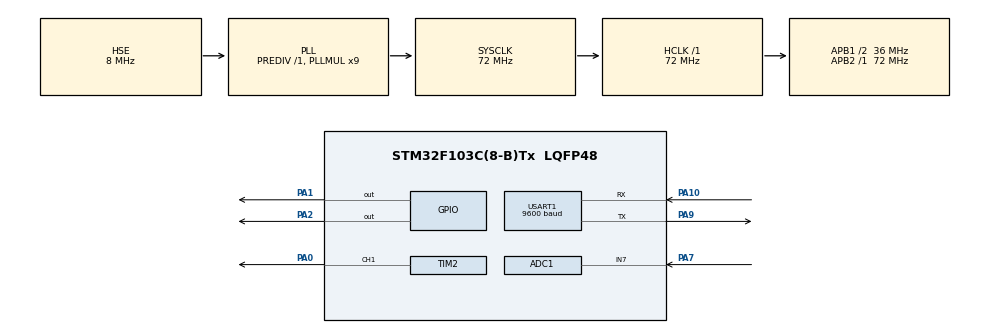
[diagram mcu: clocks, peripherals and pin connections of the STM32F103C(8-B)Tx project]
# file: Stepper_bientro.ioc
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ADC1.Channel-0\#ChannelRegularConversion=ADC_CHANNEL_7
ADC1.ContinuousConvMode=ENABLE
ADC1.NbrOfConversionFlag=1
ADC1.Rank-0\#ChannelRegularConversion=1
ADC1.SamplingTime-0\#ChannelRegularConversion=ADC_SAMPLETIME_1CYCLE_5
ADC1.master=1
Mcu.Family=STM32F1
Mcu.Name=STM32F103C(8-B)Tx
Mcu.Package=LQFP48
NVIC.ADC1_2_IRQn=true\:1\:0\:true\:false\:true\:true\:true\:true
NVIC.PriorityGroup=NVIC_PRIORITYGROUP_4
NVIC.TIM2_IRQn=true\:0\:0\:false\:false\:true\:true\:true\:true
NVIC.USART1_IRQn=true\:1\:0\:true\:false\:true\:true\:true\:true
PA0-WKUP.Signal=S_TIM2_CH1_ETR
PA1.Signal=GPIO_Output
PA10.Mode=Asynchronous
PA10.Signal=USART1_RX
PA13.Mode=Serial_Wire
PA13.Signal=SYS_JTMS-SWDIO
PA14.Mode=Serial_Wire
PA14.Signal=SYS_JTCK-SWCLK
PA2.Signal=GPIO_Output
PA7.Signal=ADCx_IN7
PA9.Mode=Asynchronous
PA9.Signal=USART1_TX
PD0-OSC_IN.Mode=HSE-External-Oscillator
PD0-OSC_IN.Signal=RCC_OSC_IN
PD1-OSC_OUT.Mode=HSE-External-Oscillator
PD1-OSC_OUT.Signal=RCC_OSC_OUT
ProjectManager.HeapSize=0x200
ProjectManager.StackSize=0x400
ProjectManager.TargetToolchain=STM32CubeIDE
RCC.ADCPresc=RCC_ADCPCLK2_DIV6
RCC.AHBFreq_Value=72000000
RCC.APB1CLKDivider=RCC_HCLK_DIV2
RCC.APB1Freq_Value=36000000
RCC.APB1TimFreq_Value=72000000
RCC.APB2Freq_Value=72000000
RCC.APB2TimFreq_Value=72000000
RCC.HCLKFreq_Value=72000000
RCC.PLLMUL=RCC_PLL_MUL9
RCC.PLLSourceVirtual=RCC_PLLSOURCE_HSE
RCC.SYSCLKFreq_VALUE=72000000
RCC.SYSCLKSource=RCC_SYSCLKSOURCE_PLLCLK
RCC.USBFreq_Value=72000000
SH.ADCx_IN7.0=ADC1_IN7,IN7
SH.S_TIM2_CH1_ETR.0=TIM2_CH1,PWM Generation1 CH1
TIM2.Channel-PWM\ Generation1\ CH1=TIM_CHANNEL_1
TIM2.Period=2000-1
TIM2.Prescaler=72-1
USART1.BaudRate=9600
USART1.VirtualMode=VM_ASYNC
VP_TIM2_VS_ClockSourceINT.Mode=Internal
board=custom

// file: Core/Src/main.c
/* USER CODE BEGIN Header */
/**
  ******************************************************************************
  * @file           : main.c
  * @brief          : Main program body
  ******************************************************************************
  * @attention
  *
  * Copyright (c) 2024 STMicroelectronics.
  * All rights reserved.
  *
  * This software is licensed under terms that can be found in the LICENSE file
  * in the root directory of this software component.
  * If no LICENSE file comes with this software, it is provided AS-IS.
  *
  ******************************************************************************
  */
/* USER CODE END Header */
#include "main.h"

/* USER CODE BEGIN Includes */
#include "stdio.h"
#include <stdlib.h>

/* USER CODE END Includes */

ADC_HandleTypeDef hadc1;

TIM_HandleTypeDef htim2;

UART_HandleTypeDef huart1;

/* USER CODE BEGIN PV */

#define DIR_PIN     GPIO_PIN_1
#define DIR_PORT    GPIOA
#define ENABLE_PIN  GPIO_PIN_2
#define ENABLE_PORT GPIOA

#define DIR_CLOCKWISE      GPIO_PIN_SET
#define DIR_COUNTERCLOCKWISE GPIO_PIN_RESET
#define MOTOR_ENABLED      GPIO_PIN_RESET
#define MOTOR_DISABLED     GPIO_PIN_SET

uint8_t rx_data;
char data[50];
uint16_t count = 0;
uint32_t newstep = 0;
uint32_t currentstep = 0;
float stepPerAngle = 1.8;
uint32_t target_step = 0;

uint8_t flag_enable_PWM = 0;
uint32_t adc_value = 0;
uint32_t microstepping = 8;

#define ADC_SAMPLES 100
uint32_t adcValues[ADC_SAMPLES];
/* USER CODE END PV */

void SystemClock_Config(void);
static void MX_GPIO_Init(void);
static void MX_USART1_UART_Init(void);
static void MX_ADC1_Init(void);
static void MX_TIM2_Init(void);

int main(void)
{

  /* MCU Configuration--------------------------------------------------------*/

  /* Reset of all peripherals, Initializes the Flash interface and the Systick. */
  HAL_Init();

  /* Configure the system clock */
  SystemClock_Config();

  /* Initialize all configured peripherals */
  MX_GPIO_Init();
  MX_USART1_UART_Init();
  MX_ADC1_Init();
  MX_TIM2_Init();
  /* USER CODE BEGIN 2 */

  HAL_UART_Receive_IT(&huart1,&rx_data, sizeof(rx_data));

  /* USER CODE END 2 */

  /* Infinite loop */
  while (1)
  {

  }
}

void SystemClock_Config(void)
{
  RCC_OscInitTypeDef RCC_OscInitStruct = {0};
  RCC_ClkInitTypeDef RCC_ClkInitStruct = {0};
  RCC_PeriphCLKInitTypeDef PeriphClkInit = {0};

  /** Initializes the RCC Oscillators according to the specified parameters
  * in the RCC_OscInitTypeDef structure.
  */
  RCC_OscInitStruct.OscillatorType = RCC_OSCILLATORTYPE_HSE;
  RCC_OscInitStruct.HSEState = RCC_HSE_ON;
  RCC_OscInitStruct.HSEPredivValue = RCC_HSE_PREDIV_DIV1;
  RCC_OscInitStruct.HSIState = RCC_HSI_ON;
  RCC_OscInitStruct.PLL.PLLState = RCC_PLL_ON;
  RCC_OscInitStruct.PLL.PLLSource = RCC_PLLSOURCE_HSE;
  RCC_OscInitStruct.PLL.PLLMUL = RCC_PLL_MUL9;
  if (HAL_RCC_OscConfig(&RCC_OscInitStruct) != HAL_OK)
  {
    Error_Handler();
  }

  /** Initializes the CPU, AHB and APB buses clocks
  */
  RCC_ClkInitStruct.ClockType = RCC_CLOCKTYPE_HCLK|RCC_CLOCKTYPE_SYSCLK
                              |RCC_CLOCKTYPE_PCLK1|RCC_CLOCKTYPE_PCLK2;
  RCC_ClkInitStruct.SYSCLKSource = RCC_SYSCLKSOURCE_PLLCLK;
  RCC_ClkInitStruct.AHBCLKDivider = RCC_SYSCLK_DIV1;
  RCC_ClkInitStruct.APB1CLKDivider = RCC_HCLK_DIV2;
  RCC_ClkInitStruct.APB2CLKDivider = RCC_HCLK_DIV1;

  if (HAL_RCC_ClockConfig(&RCC_ClkInitStruct, FLASH_LATENCY_2) != HAL_OK)
  {
    Error_Handler();
  }
  PeriphClkInit.PeriphClockSelection = RCC_PERIPHCLK_ADC;
  PeriphClkInit.AdcClockSelection = RCC_ADCPCLK2_DIV6;
  if (HAL_RCCEx_PeriphCLKConfig(&PeriphClkInit) != HAL_OK)
  {
    Error_Handler();
  }
}

static void MX_ADC1_Init(void)
{

  ADC_ChannelConfTypeDef sConfig = {0};

  /** Common config
  */
  hadc1.Instance = ADC1;
  hadc1.Init.ScanConvMode = ADC_SCAN_DISABLE;
  hadc1.Init.ContinuousConvMode = ENABLE;
  hadc1.Init.DiscontinuousConvMode = DISABLE;
  hadc1.Init.ExternalTrigConv = ADC_SOFTWARE_START;
  hadc1.Init.DataAlign = ADC_DATAALIGN_RIGHT;
  hadc1.Init.NbrOfConversion = 1;
  if (HAL_ADC_Init(&hadc1) != HAL_OK)
  {
    Error_Handler();
  }

  /** Configure Regular Channel
  */
  sConfig.Channel = ADC_CHANNEL_7;
  sConfig.Rank = ADC_REGULAR_RANK_1;
  sConfig.SamplingTime = ADC_SAMPLETIME_1CYCLE_5;
  if (HAL_ADC_ConfigChannel(&hadc1, &sConfig) != HAL_OK)
  {
    Error_Handler();
  }

}

static void MX_TIM2_Init(void)
{

  TIM_ClockConfigTypeDef sClockSourceConfig = {0};
  TIM_MasterConfigTypeDef sMasterConfig = {0};
  TIM_OC_InitTypeDef sConfigOC = {0};

  htim2.Instance = TIM2;
  htim2.Init.Prescaler = 72-1;
  htim2.Init.CounterMode = TIM_COUNTERMODE_UP;
  htim2.Init.Period = 2000-1;
  htim2.Init.ClockDivision = TIM_CLOCKDIVISION_DIV1;
  htim2.Init.AutoReloadPreload = TIM_AUTORELOAD_PRELOAD_DISABLE;
  if (HAL_TIM_Base_Init(&htim2) != HAL_OK)
  {
    Error_Handler();
  }
  sClockSourceConfig.ClockSource = TIM_CLOCKSOURCE_INTERNAL;
  if (HAL_TIM_ConfigClockSource(&htim2, &sClockSourceConfig) != HAL_OK)
  {
    Error_Handler();
  }
  if (HAL_TIM_PWM_Init(&htim2) != HAL_OK)
  {
    Error_Handler();
  }
  sMasterConfig.MasterOutputTrigger = TIM_TRGO_RESET;
  sMasterConfig.MasterSlaveMode = TIM_MASTERSLAVEMODE_DISABLE;
  if (HAL_TIMEx_MasterConfigSynchronization(&htim2, &sMasterConfig) != HAL_OK)
  {
    Error_Handler();
  }
  sConfigOC.OCMode = TIM_OCMODE_PWM1;
  sConfigOC.Pulse = 0;
  sConfigOC.OCPolarity = TIM_OCPOLARITY_HIGH;
  sConfigOC.OCFastMode = TIM_OCFAST_DISABLE;
  if (HAL_TIM_PWM_ConfigChannel(&htim2, &sConfigOC, TIM_CHANNEL_1) != HAL_OK)
  {
    Error_Handler();
  }
  HAL_TIM_MspPostInit(&htim2);

}

static void MX_USART1_UART_Init(void)
{

  huart1.Instance = USART1;
  huart1.Init.BaudRate = 9600;
  huart1.Init.WordLength = UART_WORDLENGTH_8B;
  huart1.Init.StopBits = UART_STOPBITS_1;
  huart1.Init.Parity = UART_PARITY_NONE;
  huart1.Init.Mode = UART_MODE_TX_RX;
  huart1.Init.HwFlowCtl = UART_HWCONTROL_NONE;
  huart1.Init.OverSampling = UART_OVERSAMPLING_16;
  if (HAL_UART_Init(&huart1) != HAL_OK)
  {
    Error_Handler();
  }

}

static void MX_GPIO_Init(void)
{
  GPIO_InitTypeDef GPIO_InitStruct = {0};

  /* GPIO Ports Clock Enable */
  __HAL_RCC_GPIOD_CLK_ENABLE();
  __HAL_RCC_GPIOA_CLK_ENABLE();

  /*Configure GPIO pin Output Level */
  HAL_GPIO_WritePin(GPIOA, GPIO_PIN_1|GPIO_PIN_2, GPIO_PIN_RESET);

  /*Configure GPIO pins : PA1 PA2 */
  GPIO_InitStruct.Pin = GPIO_PIN_1|GPIO_PIN_2;
  GPIO_InitStruct.Mode = GPIO_MODE_OUTPUT_PP;
  GPIO_InitStruct.Pull = GPIO_NOPULL;
  GPIO_InitStruct.Speed = GPIO_SPEED_FREQ_LOW;
  HAL_GPIO_Init(GPIOA, &GPIO_InitStruct);

}

/* USER CODE BEGIN 4 */

void HAL_UART_RxCpltCallback(UART_HandleTypeDef *huart)
{
	 if (huart->Instance == huart1.Instance)
	  {
		 switch(rx_data){

		 		case '1':
		 				{

		 					 HAL_ADC_Start_IT(&hadc1);
		 					 HAL_GPIO_WritePin(ENABLE_PORT, ENABLE_PIN, MOTOR_ENABLED);
		 				} break;

		 		default:
		 		break;
		 }

		 HAL_UART_Receive_IT(&huart1, &rx_data, sizeof(rx_data));
	  }

}
long map(long x, long in_min, long in_max, long out_min, long out_max)
{
  return (x - in_min) * (out_max - out_min + 1) / (in_max - in_min + 1) + out_min;
}

uint32_t AverageFiltered(void) {
   uint32_t sum = 0;

   for (int i = 0; i < ADC_SAMPLES; i++) {

       HAL_ADC_Start(&hadc1);
       HAL_ADC_PollForConversion(&hadc1, HAL_MAX_DELAY);
       adcValues[i] = HAL_ADC_GetValue(&hadc1);
       sum += adcValues[i];
   }

    return sum / ADC_SAMPLES;
}

void HAL_ADC_ConvCpltCallback(ADC_HandleTypeDef* hadc)
{

if (hadc->Instance == ADC1)
{

    	adc_value = AverageFiltered();
        uint32_t newstep = map(adc_value, 0, 4095, 0, 1600); // Using microstepping 1/8 steps

        while(newstep > currentstep - 5 && newstep < currentstep + 5) // Khử nhiễu
        {
         	adc_value = AverageFiltered();
        	newstep = map(adc_value, 0, 4095, 0, 1600); // Using microstepping 1/8 steps
        }
    	if (currentstep != newstep) // kiểm tra xem biến trở có thay đổi giá trị không
    	{
    		    	if (currentstep < newstep)
    		    	{
    		    		HAL_GPIO_WritePin(ENABLE_PORT, ENABLE_PIN, MOTOR_ENABLED);
    		    	    HAL_GPIO_WritePin(DIR_PORT, DIR_PIN, DIR_CLOCKWISE);
    		    	    target_step = newstep - currentstep;
    		    	}

    		        else if (currentstep > newstep)
    		    	{
    		    	    HAL_GPIO_WritePin(ENABLE_PORT, ENABLE_PIN, MOTOR_ENABLED);
    		    	    HAL_GPIO_WritePin(DIR_PORT, DIR_PIN, DIR_COUNTERCLOCKWISE);
    		    	    target_step = currentstep - newstep;
    		    	}

    		    	HAL_ADC_Stop_IT(&hadc1);
    		        HAL_TIM_PWM_Start_IT(&htim2, TIM_CHANNEL_1);
    		    	__HAL_TIM_SET_COMPARE(&htim2, TIM_CHANNEL_1, 1000);

    		    	flag_enable_PWM = 1;

    		        char buffer_step[50];
    		    	int length_step = snprintf(buffer_step, sizeof(buffer_step), "Step: %lu\r\n", newstep);
    		    	HAL_UART_Transmit(&huart1, (uint8_t*)buffer_step, length_step, 1000);

    		        uint32_t angle = (newstep / microstepping) * stepPerAngle;
    		    	char buffer_angle[50];
    		    	int length_angle = snprintf(buffer_angle, sizeof(buffer_angle), "Angle Value: %lu\r\n",angle);
    		    	HAL_UART_Transmit(&huart1, (uint8_t*)buffer_angle, length_angle, 1000);

    		    	currentstep = newstep;

     }

}

}

void HAL_TIM_PWM_PulseFinishedCallback(TIM_HandleTypeDef *htim)
{
	if(flag_enable_PWM == 1)
	{
		 count++;

		 if (count >= target_step)
		 {
		     HAL_GPIO_WritePin(ENABLE_PORT, ENABLE_PIN, MOTOR_DISABLED);
		     count = 0;
		     flag_enable_PWM = 0;
		     HAL_ADC_Start_IT(&hadc1);
		     HAL_TIM_PWM_Stop_IT(&htim2, TIM_CHANNEL_1);
		 }
	}
}

/* USER CODE END 4 */

void Error_Handler(void)
{
  __disable_irq();
  while (1)
  {
  }
}
